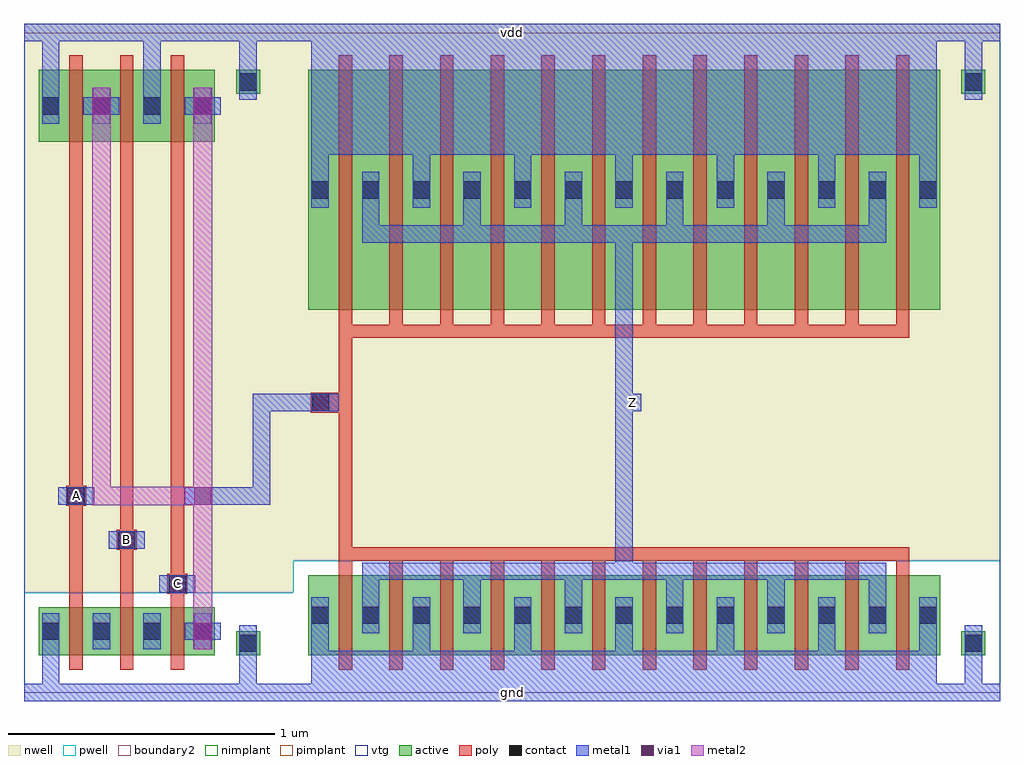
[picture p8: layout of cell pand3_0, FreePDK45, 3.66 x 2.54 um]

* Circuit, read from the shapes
.subckt pand3_0 A B C Z gnd vdd
M1 pnand3_1_0/nmos_m1_w0_180_a_p_3/D A gnd gnd nfet w=0.18u l=0.05u
M2 pnand3_1_0/nmos_m1_w0_180_a_p_4/D B pnand3_1_0/nmos_m1_w0_180_a_p_3/D gnd nfet w=0.18u l=0.05u
M3 pinv_16_1/A C pnand3_1_0/nmos_m1_w0_180_a_p_4/D gnd nfet w=0.18u l=0.05u
M4 Z pinv_16_1/A gnd gnd nfet w=0.3u l=0.05u m=12
M5 pinv_16_1/A A vdd vdd pfet w=0.27u l=0.05u
M6 vdd B pinv_16_1/A vdd pfet w=0.27u l=0.05u
M7 pinv_16_1/A C vdd vdd pfet w=0.27u l=0.05u
M8 Z pinv_16_1/A vdd vdd pfet w=0.9u l=0.05u m=12
.ends

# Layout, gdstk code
import gdstk
lib = gdstk.Library(unit=1e-6, precision=5e-10)
def R(c, l, rs):  # rectangles x0, y0, x1, y1
    for r in rs: c.add(gdstk.rectangle(r[:2], r[2:], *l))
def A(c, l, x, y, w, h, nx, ny, dx, dy):  # array of equal rectangles
    R(c, l, [(x+i*dx, y+j*dy, x+i*dx+w, y+j*dy+h) for i in range(nx) for j in range(ny)])
active = (1, 0)
pwell = (2, 0)
nwell = (3, 0)
nimplant = (4, 0)
pimplant = (5, 0)
vtg = (6, 0)
poly = (9, 0)
contact = (10, 0)
metal1 = (11, 0)
via1 = (12, 0)
metal2 = (13, 0)
boundary2 = (239, 0)

contact_9 = lib.new_cell('contact_9')
R(contact_9, active, [(0,0.0225,0.09,0.1125)])
R(contact_9, nwell, [(-0.055,-0.0325,0.145,0.1675)])
R(contact_9, pimplant, [(0,0.0225,0.09,0.1125)])
R(contact_9, contact, [(0.0125,0.035,0.0775,0.1)])
R(contact_9, metal1, [(0.0125,0,0.0775,0.135)])

pmos_m1_w0_270_a_p = lib.new_cell('pmos_m1_w0_270_a_p')
R(pmos_m1_w0_270_a_p, active, [(0,0,0.28,0.27)])
R(pmos_m1_w0_270_a_p, nwell, [(-0.055,-0.055,0.335,0.325)])
R(pmos_m1_w0_270_a_p, pimplant, [(0,0,0.28,0.27)])
R(pmos_m1_w0_270_a_p, vtg, [(-0.055,-0.055,0.335,0.325)])
R(pmos_m1_w0_270_a_p, poly, [(0.115,-0.055,0.165,0.325), (0.115,-0.055,0.165,0.325)])
R(pmos_m1_w0_270_a_p, metal1, [(0.0125,0.0675,0.0775,0.2025), (0.2025,0.0675,0.2675,0.2025)])
pmos_m1_w0_270_a_p.add(gdstk.Reference(contact_9, (0,0.0675)))
pmos_m1_w0_270_a_p.add(gdstk.Reference(contact_9, (0.19,0.0675)))
pmos_m1_w0_270_a_p.add(gdstk.Label('G', (0.14,0.135), layer=9, texttype=0))
pmos_m1_w0_270_a_p.add(gdstk.Label('S', (0.045,0.135), layer=11, texttype=0))
pmos_m1_w0_270_a_p.add(gdstk.Label('D', (0.235,0.135), layer=11, texttype=0))

contact_14 = lib.new_cell('contact_14')
R(contact_14, active, [(0,0.0225,0.09,0.1125)])
R(contact_14, pwell, [(-0.055,-0.0325,0.145,0.1675)])
R(contact_14, nimplant, [(0,0.0225,0.09,0.1125)])
R(contact_14, contact, [(0.0125,0.035,0.0775,0.1)])
R(contact_14, metal1, [(0.0125,0,0.0775,0.135)])

nmos_m1_w0_180_a_p = lib.new_cell('nmos_m1_w0_180_a_p')
R(nmos_m1_w0_180_a_p, active, [(0,0,0.28,0.18)])
R(nmos_m1_w0_180_a_p, pwell, [(-0.055,-0.055,0.335,0.235)])
R(nmos_m1_w0_180_a_p, nimplant, [(0,0,0.28,0.18)])
R(nmos_m1_w0_180_a_p, vtg, [(-0.055,-0.055,0.335,0.235)])
R(nmos_m1_w0_180_a_p, poly, [(0.115,-0.055,0.165,0.235), (0.115,-0.055,0.165,0.235)])
R(nmos_m1_w0_180_a_p, metal1, [(0.0125,0.0225,0.0775,0.1575), (0.2025,0.0225,0.2675,0.1575)])
nmos_m1_w0_180_a_p.add(gdstk.Reference(contact_14, (0,0.0225)))
nmos_m1_w0_180_a_p.add(gdstk.Reference(contact_14, (0.19,0.0225)))
nmos_m1_w0_180_a_p.add(gdstk.Label('G', (0.14,0.09), layer=9, texttype=0))
nmos_m1_w0_180_a_p.add(gdstk.Label('S', (0.045,0.09), layer=11, texttype=0))
nmos_m1_w0_180_a_p.add(gdstk.Label('D', (0.235,0.09), layer=11, texttype=0))

contact_18 = lib.new_cell('contact_18')
R(contact_18, active, [(0,0.0225,0.09,0.1125)])
R(contact_18, nwell, [(-0.055,-0.0325,0.145,0.1675)])
R(contact_18, nimplant, [(0,0.0225,0.09,0.1125)])
R(contact_18, contact, [(0.0125,0.035,0.0775,0.1)])
R(contact_18, metal1, [(0.0125,0,0.0775,0.135)])

contact_19 = lib.new_cell('contact_19')
R(contact_19, active, [(0,0.0225,0.09,0.1125)])
R(contact_19, pwell, [(-0.055,-0.0325,0.145,0.1675)])
R(contact_19, pimplant, [(0,0.0225,0.09,0.1125)])
R(contact_19, contact, [(0.0125,0.035,0.0775,0.1)])
R(contact_19, metal1, [(0.0125,0,0.0775,0.135)])

contact_10 = lib.new_cell('contact_10')
R(contact_10, poly, [(0.03,0,0.105,0.075)])
R(contact_10, contact, [(0.035,0.005,0.1,0.07)])
R(contact_10, metal1, [(0,0.005,0.135,0.07)])

contact_16 = lib.new_cell('contact_16')
R(contact_16, metal1, [(0,0.035,0.135,0.1)])
R(contact_16, via1, [(0.035,0.035,0.1,0.1)])
R(contact_16, metal2, [(0.0325,0,0.1025,0.135)])

pnand3_1 = lib.new_cell('pnand3_1')
R(pnand3_1, pwell, [(0,-0.0325,1.01,0.375)])
R(pnand3_1, nwell, [(0,0.375,1.01,2.5075)])
R(pnand3_1, vtg, [(0,-0.0325,1.01,0.375), (0,0.375,1.01,2.5075)])
A(pnand3_1, poly, 0.17, 0.085, 0.05, 1.925, 3, 1, 0.19, 0)
R(pnand3_1, poly, [(0.55,0.37,0.575,0.445), (0.36,0.535,0.385,0.61), (0.17,0.7,0.195,0.775)])
R(pnand3_1, metal1, [(0,-0.0325,1.01,0.0325), (0.0675,-0.0325,0.1325,0.1625), (0.8075,0,0.8725,0.185), (0.5075,0.375,0.6425,0.44), (0.3175,0.54,0.4525,0.605), (0.1275,0.705,0.2625,0.77), (0.6025,0.705,0.7375,0.77), (0.0675,2.1325,0.1325,2.5075), (0.4475,2.1325,0.5125,2.5075), (0.8075,2.29,0.8725,2.475), (0,2.4425,1.01,2.5075)])
R(pnand3_1, metal2, [(0.635,0.2975,0.705,2.1325), (0.635,0.2975,0.705,0.7375), (0.255,0.7025,0.325,0.7725), (0.29,0.7025,0.67,0.7725), (0.635,0.7025,0.705,0.7725), (0.255,0.7375,0.325,2.1325)])
R(pnand3_1, boundary2, [(0,0,1.01,2.475)])
pnand3_1.add(gdstk.Reference(pmos_m1_w0_270_a_p, (0.055,2.065)))
pnand3_1.add(gdstk.Reference(pmos_m1_w0_270_a_p, (0.245,2.065)))
pnand3_1.add(gdstk.Reference(pmos_m1_w0_270_a_p, (0.435,2.065)))
pnand3_1.add(gdstk.Reference(nmos_m1_w0_180_a_p, (0.055,0.14)))
pnand3_1.add(gdstk.Reference(nmos_m1_w0_180_a_p, (0.245,0.14)))
pnand3_1.add(gdstk.Reference(nmos_m1_w0_180_a_p, (0.435,0.14)))
pnand3_1.add(gdstk.Reference(contact_18, (0.795,2.2225)))
pnand3_1.add(gdstk.Reference(contact_19, (0.795,0.1175)))
pnand3_1.add(gdstk.Reference(contact_10, (0.5075,0.37)))
pnand3_1.add(gdstk.Reference(contact_10, (0.3175,0.535)))
pnand3_1.add(gdstk.Reference(contact_10, (0.1275,0.7)))
pnand3_1.add(gdstk.Reference(contact_16, (0.2225,2.1325)))
pnand3_1.add(gdstk.Reference(contact_16, (0.6025,2.1325)))
pnand3_1.add(gdstk.Reference(contact_16, (0.6025,0.1625)))
pnand3_1.add(gdstk.Reference(contact_16, (0.6025,0.67)))
pnand3_1.add(gdstk.Label('gnd', (0.505,0), layer=11, texttype=0))
pnand3_1.add(gdstk.Label('vdd', (0.505,2.475), layer=11, texttype=0))
pnand3_1.add(gdstk.Label('C', (0.575,0.4075), layer=11, texttype=0))
pnand3_1.add(gdstk.Label('B', (0.385,0.5725), layer=11, texttype=0))
pnand3_1.add(gdstk.Label('A', (0.195,0.7375), layer=11, texttype=0))
pnand3_1.add(gdstk.Label('Z', (0.67,0.7375), layer=11, texttype=0))

pmos_m12_w0_900_a_p = lib.new_cell('pmos_m12_w0_900_a_p')
R(pmos_m12_w0_900_a_p, active, [(0,0,2.37,0.9)])
R(pmos_m12_w0_900_a_p, nwell, [(-0.055,-0.055,2.425,0.955)])
R(pmos_m12_w0_900_a_p, pimplant, [(0,0,2.37,0.9)])
R(pmos_m12_w0_900_a_p, vtg, [(-0.055,-0.055,2.425,0.955)])
A(pmos_m12_w0_900_a_p, poly, 0.115, -0.055, 0.05, 1.01, 12, 1, 0.19, 0)
R(pmos_m12_w0_900_a_p, poly, [(0.115,-0.105,2.255,-0.055)])
A(pmos_m12_w0_900_a_p, metal1, 0.2025, 0.285, 0.065, 0.165, 6, 1, 0.38, 0)
A(pmos_m12_w0_900_a_p, metal1, 0.0125, 0.45, 0.065, 0.165, 7, 1, 0.38, 0)
R(pmos_m12_w0_900_a_p, metal1, [(0.2025,0.2525,2.1675,0.3175), (0.0125,0.5825,2.3575,0.6475)])
pmos_m12_w0_900_a_p.add(gdstk.Reference(contact_9, (0,0.3825)))
pmos_m12_w0_900_a_p.add(gdstk.Reference(contact_9, (0.38,0.3825)))
pmos_m12_w0_900_a_p.add(gdstk.Reference(contact_9, (0.76,0.3825)))
pmos_m12_w0_900_a_p.add(gdstk.Reference(contact_9, (1.14,0.3825)))
pmos_m12_w0_900_a_p.add(gdstk.Reference(contact_9, (1.52,0.3825)))
pmos_m12_w0_900_a_p.add(gdstk.Reference(contact_9, (1.9,0.3825)))
pmos_m12_w0_900_a_p.add(gdstk.Reference(contact_9, (2.28,0.3825)))
pmos_m12_w0_900_a_p.add(gdstk.Reference(contact_9, (0.19,0.3825)))
pmos_m12_w0_900_a_p.add(gdstk.Reference(contact_9, (0.57,0.3825)))
pmos_m12_w0_900_a_p.add(gdstk.Reference(contact_9, (0.95,0.3825)))
pmos_m12_w0_900_a_p.add(gdstk.Reference(contact_9, (1.33,0.3825)))
pmos_m12_w0_900_a_p.add(gdstk.Reference(contact_9, (1.71,0.3825)))
pmos_m12_w0_900_a_p.add(gdstk.Reference(contact_9, (2.09,0.3825)))
pmos_m12_w0_900_a_p.add(gdstk.Label('G', (1.185,-0.08), layer=9, texttype=0))
pmos_m12_w0_900_a_p.add(gdstk.Label('S', (1.185,0.615), layer=11, texttype=0))
pmos_m12_w0_900_a_p.add(gdstk.Label('D', (1.185,0.285), layer=11, texttype=0))

nmos_m12_w0_300_a_p = lib.new_cell('nmos_m12_w0_300_a_p')
R(nmos_m12_w0_300_a_p, active, [(0,0,2.37,0.3)])
R(nmos_m12_w0_300_a_p, pwell, [(-0.055,-0.055,2.425,0.355)])
R(nmos_m12_w0_300_a_p, nimplant, [(0,0,2.37,0.3)])
R(nmos_m12_w0_300_a_p, vtg, [(-0.055,-0.055,2.425,0.355)])
A(nmos_m12_w0_300_a_p, poly, 0.115, -0.055, 0.05, 0.41, 12, 1, 0.19, 0)
R(nmos_m12_w0_300_a_p, poly, [(0.115,0.355,2.255,0.405)])
A(nmos_m12_w0_300_a_p, metal1, 0.0125, -0.015, 0.065, 0.165, 7, 1, 0.38, 0)
A(nmos_m12_w0_300_a_p, metal1, 0.2025, 0.15, 0.065, 0.165, 6, 1, 0.38, 0)
R(nmos_m12_w0_300_a_p, metal1, [(0.0125,-0.0475,2.3575,0.0175), (0.2025,0.2825,2.1675,0.3475)])
nmos_m12_w0_300_a_p.add(gdstk.Reference(contact_14, (0,0.0825)))
nmos_m12_w0_300_a_p.add(gdstk.Reference(contact_14, (0.38,0.0825)))
nmos_m12_w0_300_a_p.add(gdstk.Reference(contact_14, (0.76,0.0825)))
nmos_m12_w0_300_a_p.add(gdstk.Reference(contact_14, (1.14,0.0825)))
nmos_m12_w0_300_a_p.add(gdstk.Reference(contact_14, (1.52,0.0825)))
nmos_m12_w0_300_a_p.add(gdstk.Reference(contact_14, (1.9,0.0825)))
nmos_m12_w0_300_a_p.add(gdstk.Reference(contact_14, (2.28,0.0825)))
nmos_m12_w0_300_a_p.add(gdstk.Reference(contact_14, (0.19,0.0825)))
nmos_m12_w0_300_a_p.add(gdstk.Reference(contact_14, (0.57,0.0825)))
nmos_m12_w0_300_a_p.add(gdstk.Reference(contact_14, (0.95,0.0825)))
nmos_m12_w0_300_a_p.add(gdstk.Reference(contact_14, (1.33,0.0825)))
nmos_m12_w0_300_a_p.add(gdstk.Reference(contact_14, (1.71,0.0825)))
nmos_m12_w0_300_a_p.add(gdstk.Reference(contact_14, (2.09,0.0825)))
nmos_m12_w0_300_a_p.add(gdstk.Label('G', (1.185,0.38), layer=9, texttype=0))
nmos_m12_w0_300_a_p.add(gdstk.Label('S', (1.185,-0.015), layer=11, texttype=0))
nmos_m12_w0_300_a_p.add(gdstk.Label('D', (1.185,0.315), layer=11, texttype=0))

pinv_16 = lib.new_cell('pinv_16')
R(pinv_16, pwell, [(0,-0.0325,2.65,0.495)])
R(pinv_16, nwell, [(0,0.495,2.65,2.5075)])
R(pinv_16, vtg, [(0,-0.0325,2.65,0.495), (0,0.495,2.65,2.5075)])
R(pinv_16, poly, [(0.17,0.495,0.22,1.33), (0.1025,1.05,0.17,1.125)])
R(pinv_16, metal1, [(0,-0.0325,2.65,0.0325), (0.0675,-0.0325,2.4125,0.0925), (2.5175,0,2.5825,0.185), (1.2075,0.4225,1.2725,1.7525), (0.035,1.055,0.17,1.12), (1.24,1.055,1.305,1.12), (0.0675,2.0175,2.4125,2.5075), (2.5175,2.29,2.5825,2.475), (0,2.4425,2.65,2.5075)])
R(pinv_16, boundary2, [(0,0,2.65,2.475)])
pinv_16.add(gdstk.Reference(pmos_m12_w0_900_a_p, (0.055,1.435)))
pinv_16.add(gdstk.Reference(nmos_m12_w0_300_a_p, (0.055,0.14)))
pinv_16.add(gdstk.Reference(contact_18, (2.505,2.2225)))
pinv_16.add(gdstk.Reference(contact_19, (2.505,0.1175)))
pinv_16.add(gdstk.Reference(contact_10, (0.035,1.05)))
pinv_16.add(gdstk.Label('gnd', (1.325,0), layer=11, texttype=0))
pinv_16.add(gdstk.Label('vdd', (1.325,2.475), layer=11, texttype=0))
pinv_16.add(gdstk.Label('A', (0.1025,1.0875), layer=11, texttype=0))
pinv_16.add(gdstk.Label('Z', (1.2725,1.0875), layer=11, texttype=0))

pand3_0 = lib.new_cell('pand3_0')
R(pand3_0, metal1, [(0,-0.0325,3.66,0.0325), (0.5075,0.375,0.6425,0.44), (0.3175,0.54,0.4525,0.605), (0.1275,0.705,0.2625,0.77), (0.67,0.705,0.89,0.77), (0.8575,0.705,0.9225,0.77), (0.8575,0.7375,0.9225,1.0875), (0.8575,1.055,0.9225,1.12), (0.89,1.055,1.1125,1.12), (2.25,1.055,2.315,1.12), (0,2.4425,3.66,2.5075)])
R(pand3_0, boundary2, [(0,0,3.66,2.475)])
pand3_0.add(gdstk.Reference(pnand3_1, (0,0)))
pand3_0.add(gdstk.Reference(pinv_16, (1.01,0)))
pand3_0.add(gdstk.Label('vdd', (1.83,2.475), layer=11, texttype=0))
pand3_0.add(gdstk.Label('gnd', (1.83,0), layer=11, texttype=0))
pand3_0.add(gdstk.Label('Z', (2.2825,1.0875), layer=11, texttype=0))
pand3_0.add(gdstk.Label('A', (0.195,0.7375), layer=11, texttype=0))
pand3_0.add(gdstk.Label('B', (0.385,0.5725), layer=11, texttype=0))
pand3_0.add(gdstk.Label('C', (0.575,0.4075), layer=11, texttype=0))

lib.write_gds('pand3_0.gds')
